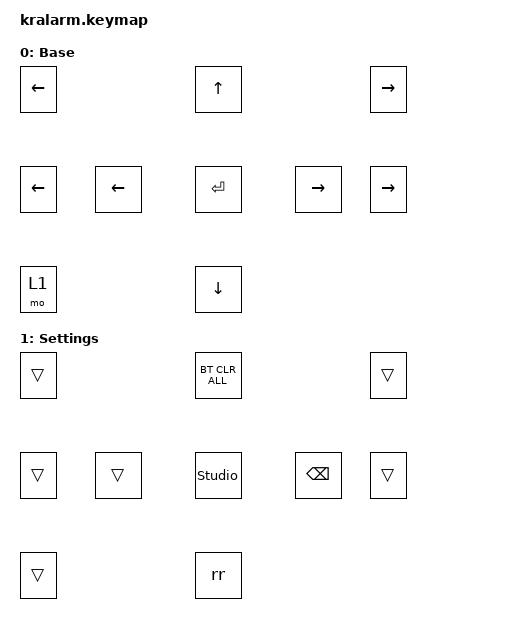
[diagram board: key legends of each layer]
#include <behaviors.dtsi>
#include <dt-bindings/zmk/keys.h>
#include <dt-bindings/zmk/bt.h>


/ {
    keymap {
        compatible = "zmk,keymap";
        default_layer {
            display-name = "Base";
            bindings = <
            &kp RIGHT_ARROW     //0
            &kp RIGHT_ARROW     //1
            &kp RIGHT_ARROW     //2
            &kp DOWN_ARROW      //3
            &kp LEFT_ARROW      //4
            &kp UP_ARROW        //5
            &kp ENTER           //6
            &mo 1               //7
            &kp LEFT_ARROW      //8
            &kp LEFT_ARROW      //9
            >;
        };
        setings_layer {
            display-name = "Settings";
            bindings = <
            &trans              //0
            &trans              //1
            &kp BACKSPACE       //2
            &rr                 //3
            &trans              //4
            &bt BT_CLR_ALL      //5
            &studio_unlock      //6
            &trans              //7
            &trans              //8
            &trans              //9
            >;
        };
        extra1 {
            status = "reserved";
        };

        extra2 {
            status = "reserved";
        };
    };
};
/ {
    macros {
        rr: rr {
            compatible = "zmk,behavior-macro";
            #binding-cells = <0>;
            bindings
                = <&macro_press &kp LSHFT>
                , <&macro_tap &kp R>
                , <&macro_release &kp LSHFT>
                , <&macro_tap &kp A &kp S &kp I &kp O>
                , <&macro_tap &kp SPACE>
                , <&macro_press &kp LSHFT>
                , <&macro_tap &kp R>
                , <&macro_release &kp LSHFT>
                , <&macro_tap &kp A &kp C &kp I &kp N &kp G>
                ;
        };
    };
};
